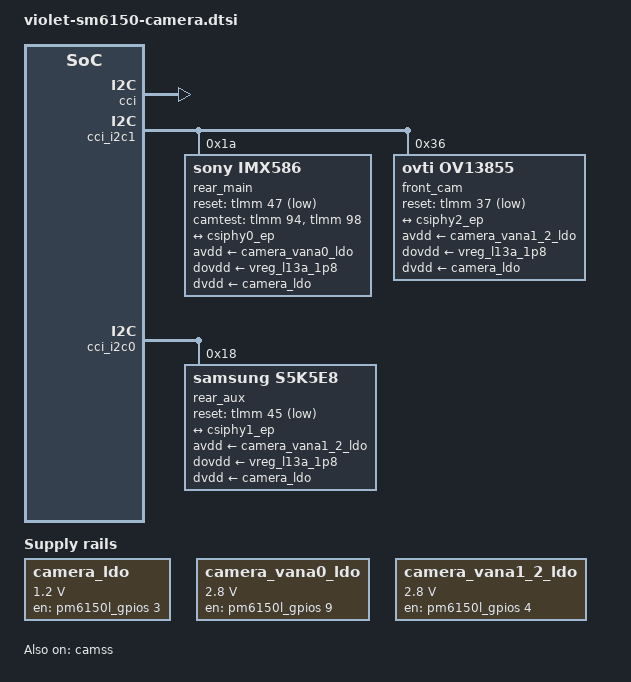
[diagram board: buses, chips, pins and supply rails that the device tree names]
// SPDX-License-Identifier: BSD-3-Clause
/*
 * violet (Redmi Note 7 Pro) camera.
 *
 * M0: CAMSS + CCI controllers.
 * M0.5: IMX586 node on CCI bus 0. It is given compatible "sony,imx577" on purpose:
 *       the in-tree imx412 driver then powers the rails, enables MCLK and reads the
 *       chip ID, and its "chip id mismatch" error tells us the real ID. Replace with
 *       the imx586 compatible once the dedicated driver exists (M1).
 *
 * Rails from the vendor DTB (unpacked from ~/violet-pmos/images-r9/boot-r10.img):
 *   cam_csiphy0..2: csi-vdd-voltage <0x124f80>, mipi-csi-vdd-supply = pm6150l_l3
 *     -> vreg_l3e_1p2 (PM6150L L3, 1.232 V)
 *   camera_ldo       = PM6150L gpio 3, 1.2 V   (dvdd)
 *   camera_vana0_ldo = PM6150L gpio 9, 2.8 V   (avdd, rear main)
 *   camera_vana1_2_ldo = PM6150L gpio 4, 2.8 V (avdd, aux/front)
 *   cam_vio = pm6150_l13 (1.8 V, dovdd)
 * Reset of the rear main sensor = TLMM gpio 47, MCLK0 on TLMM gpio 28.
 */

#include <dt-bindings/clock/qcom,qcs615-camcc.h>
#include <dt-bindings/gpio/gpio.h>

/ {
	camera_ldo: regulator-camera-vdig {
		compatible = "regulator-fixed";
		regulator-name = "camera_ldo";
		regulator-min-microvolt = <1200000>;
		regulator-max-microvolt = <1200000>;
		regulator-enable-ramp-delay = <135>;
		enable-active-high;
		gpio = <&pm6150l_gpios 3 GPIO_ACTIVE_HIGH>;
	};

	camera_vana0_ldo: regulator-camera-vana0 {
		compatible = "regulator-fixed";
		regulator-name = "camera_vana0_ldo";
		regulator-min-microvolt = <2800000>;
		regulator-max-microvolt = <2800000>;
		regulator-enable-ramp-delay = <233>;
		enable-active-high;
		gpio = <&pm6150l_gpios 9 GPIO_ACTIVE_HIGH>;
	};

	camera_vana1_2_ldo: regulator-camera-vana1-2 {
		compatible = "regulator-fixed";
		regulator-name = "camera_vana1_2_ldo";
		regulator-min-microvolt = <2800000>;
		regulator-max-microvolt = <2800000>;
		regulator-enable-ramp-delay = <233>;
		enable-active-high;
		gpio = <&pm6150l_gpios 4 GPIO_ACTIVE_HIGH>;
		regulator-always-on;
	};
};

&camss {
	vdd-csiphy-1p2-supply = <&vreg_l3e_1p2>;
	vdd-csiphy-1p8-supply = <&vreg_l13a_1p8>;
	status = "okay";

	ports {
		port@0 {
			csiphy0_ep: endpoint {
				data-lanes = <0 1 2 3>;
				remote-endpoint = <&rear_main_ep>;
			};
		};

		port@1 {
			csiphy1_ep: endpoint {
				data-lanes = <0 1>;
				remote-endpoint = <&rear_aux_ep>;
			};
		};

		port@2 {
			csiphy2_ep: endpoint {
				data-lanes = <0 1 2 3>;
				remote-endpoint = <&front_ep>;
			};
		};
	};
};

&cci {
	status = "okay";
};

&cci_i2c1 {
	status = "okay";

	rear_main: camera@1a {
		compatible = "sony,imx586";
		reg = <0x1a>;

		orientation = <1>;
		rotation = <270>;
		reset-gpios = <&tlmm 47 GPIO_ACTIVE_LOW>;
		camtest-gpios = <&tlmm 94 GPIO_ACTIVE_HIGH>, <&tlmm 98 GPIO_ACTIVE_HIGH>;
		pinctrl-names = "default";
		pinctrl-0 = <&cam_mclk0_default>;

		clocks = <&camcc CAM_CC_MCLK0_CLK>;
		assigned-clocks = <&camcc CAM_CC_MCLK0_CLK>;
		assigned-clock-rates = <24000000>;

		avdd-supply = <&camera_vana0_ldo>;
		dovdd-supply = <&vreg_l13a_1p8>;
		dvdd-supply = <&camera_ldo>;

		port {
			rear_main_ep: endpoint {
				data-lanes = <1 2 3 4>;
				link-frequencies = /bits/ 64 <574000000>;
				remote-endpoint = <&csiphy0_ep>;
			};
		};
	};
};

&cci_i2c0 {
	status = "okay";

	/* rear aux: Samsung S5K5E8 (chip id 0x5e80 read at 0x18 on CCI master 0, measured 2026-11-03) */
	rear_aux: camera@18 {
		compatible = "samsung,s5k5e8";
		reg = <0x18>;
		reset-gpios = <&tlmm 45 GPIO_ACTIVE_LOW>;
		pinctrl-names = "default";
		pinctrl-0 = <&cam_mclk1_default>;
		clocks = <&camcc CAM_CC_MCLK1_CLK>;
		assigned-clocks = <&camcc CAM_CC_MCLK1_CLK>;
		assigned-clock-rates = <24000000>;
		avdd-supply = <&camera_vana1_2_ldo>;
		dovdd-supply = <&vreg_l13a_1p8>;
		dvdd-supply = <&camera_ldo>;
		orientation = <1>;
		rotation = <270>;
		port {
			rear_aux_ep: endpoint {
				data-lanes = <1 2>;
				link-frequencies = /bits/ 64 <336000000>;
				remote-endpoint = <&csiphy1_ep>;
			};
		};
	};
};

&cci_i2c1 {
	/* front: OmniVision OV13855 (chip id 0xd855 read at 0x36 on CCI master 1, measured 2026-11-03) */
	front_cam: camera@36 {
		compatible = "ovti,ov13855";
		reg = <0x36>;
		reset-gpios = <&tlmm 37 GPIO_ACTIVE_LOW>;
		pinctrl-names = "default";
		pinctrl-0 = <&cam_mclk2_default>;
		clocks = <&camcc CAM_CC_MCLK2_CLK>;
		assigned-clocks = <&camcc CAM_CC_MCLK2_CLK>;
		assigned-clock-rates = <24000000>;
		avdd-supply = <&camera_vana1_2_ldo>;
		dovdd-supply = <&vreg_l13a_1p8>;
		dvdd-supply = <&camera_ldo>;
		orientation = <0>;
		rotation = <90>;
		port {
			front_ep: endpoint {
				data-lanes = <1 2 3 4>;
				link-frequencies = /bits/ 64 <360000000>;
				remote-endpoint = <&csiphy2_ep>;
			};
		};
	};
};
